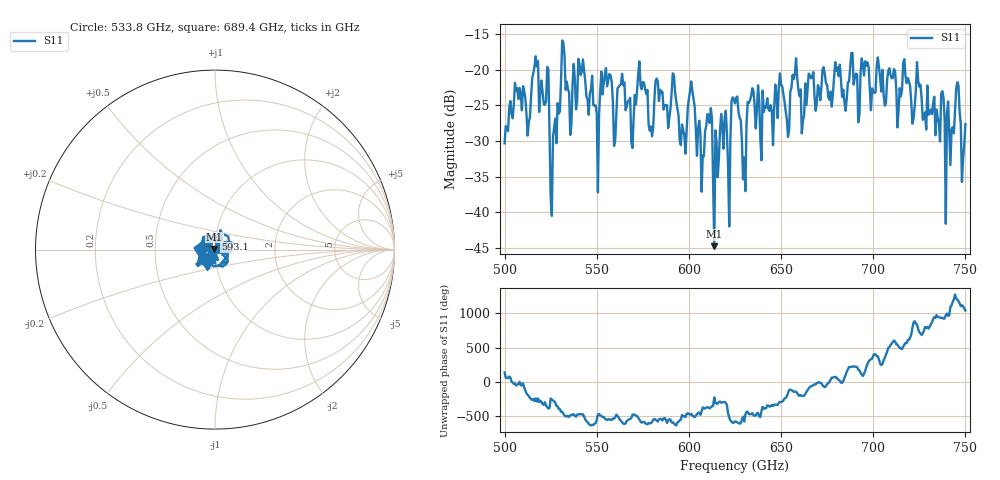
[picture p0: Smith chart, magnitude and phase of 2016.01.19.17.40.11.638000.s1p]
!Created with skrf (http://scikit-rf.org).
# GHz S RI R 50.0
!freq ReS11 ImS11
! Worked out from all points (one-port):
!   401 points, 500 GHz to 750 GHz, reference 50 ohm
!   lowest |S11| = -44.8 dB at 613.8 GHz (marker M1), VSWR 1.01, Z = 49.6 + j0.405 ohm
!   |S11| at or under -10 dB: start of sweep to end of sweep
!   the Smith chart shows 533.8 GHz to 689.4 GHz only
!   S11 on the Smith chart (normalised r, x): 533.8 GHz: 0.89, -0.11; 593.1 GHz: 1.00, +0.12; 689.4 GHz: 0.89, -0.10
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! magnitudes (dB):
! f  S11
! 500 GHz  -30.3
! 506.9 GHz  -22.6
! 513.1 GHz  -27.4
! 516.9 GHz  -18.1
! 523.1 GHz  -19.6
! 525.6 GHz  -40.5
! 531.2 GHz  -15.9
! 533.8 GHz  -21.7
! 541.2 GHz  -20.8
! 550 GHz  -26.2
! 562.5 GHz  -22.2
! 579.4 GHz  -28.0
! 593.1 GHz  -24.5
! 593.8 GHz  -25.4
! 601.9 GHz  -23.0
! 607.5 GHz  -32.0
! 611.2 GHz  -27.5
! 613.8 GHz  -44.8
! 621.9 GHz  -42.0
! 625 GHz  -24.7
! 630 GHz  -32.3
! 633.8 GHz  -23.7
! 653.1 GHz  -26.9
! 656.2 GHz  -20.7
! 687.5 GHz  -19.7
! 689.4 GHz  -22.1
! 718.8 GHz  -21.2
! 750 GHz  -27.6
